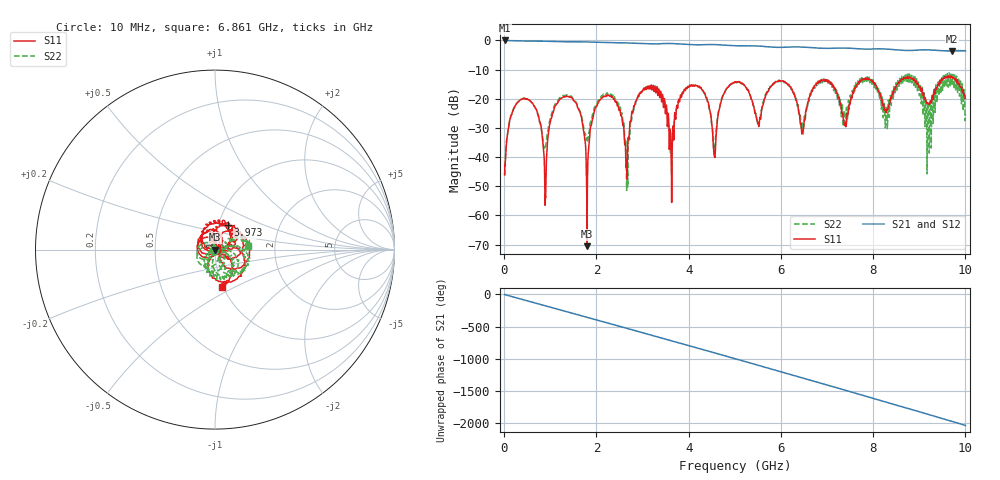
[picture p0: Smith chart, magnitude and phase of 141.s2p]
!Keysight Technologies,E5080B,MY59205177,A.15.75.32
!Date: Friday, February 23, 2024 03:40:08
!Correction: S11(Cdelta 2-Port  )
!S21(Cdelta 2-Port  )
!S12(Cdelta 2-Port  )
!S22(Cdelta 2-Port  )
!S2P File: Measurements: S11, S21, S12, S22:
# Hz S  dB  R 50
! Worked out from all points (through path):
!   10001 points, 10 MHz to 10 GHz, reference 50 ohm
!   highest |S21| = -0.01 dB at 14 MHz (marker M1); lowest = -3.7 dB at 9.701 GHz (marker M2)
!   group delay of S21, straight-line fit = 565 ps
!   lowest |S11| = -70.5 dB at 1.798 GHz (marker M3), VSWR 1.00, Z = 50 + j0.0246 ohm
!   |S11| at or under -10 dB: start of sweep to end of sweep
!   |S22| runs from -51.4 to -11.1 dB; largest |S21 - S12| = 0.0016
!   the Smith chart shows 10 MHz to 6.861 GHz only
!   S11 on the Smith chart (normalised r, x): 10 MHz: 1.01, -0.00; 3.973 GHz: 1.11, +0.31; 6.861 GHz: 0.98, -0.42
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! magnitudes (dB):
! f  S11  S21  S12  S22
! 10 MHz  -46.1  0.0  0.0  -45.9
! 14 MHz  -43.3  0.0  0.0  -45.4
! 374.6 MHz  -20.2  -0.2  -0.2  -20.1
! 888.1 MHz  -55.9  -0.3  -0.3  -37.1
! 1.177 GHz  -20.8  -0.4  -0.4  -20.2
! 1.675 GHz  -26.2  -0.5  -0.5  -25.7
! 1.798 GHz  -70.5  -0.5  -0.5  -33.4
! 2.108 GHz  -19.8  -0.7  -0.7  -19.0
! 2.663 GHz  -47.5  -0.9  -0.9  -43.5
! 2.907 GHz  -19.3  -1.0  -1.0  -18.8
! 3.341 GHz  -17.4  -1.1  -1.1  -17.6
! 3.627 GHz  -46.9  -1.1  -1.1  -41.8
! 3.973 GHz  -16.2  -1.4  -1.4  -16.0
! 4.561 GHz  -39.8  -1.4  -1.4  -38.6
! 5.005 GHz  -14.1  -1.8  -1.8  -14.5
! 6.107 GHz  -14.6  -2.3  -2.3  -14.7
! 6.464 GHz  -31.6  -2.3  -2.3  -27.8
! 6.67 GHz  -17.4  -2.5  -2.5  -17.0
! 6.861 GHz  -13.6  -2.7  -2.7  -14.5
! 8.336 GHz  -22.7  -3.0  -3.0  -20.9
! 9.701 GHz  -12.2  -3.7  -3.7  -13.8
! 10 GHz  -19.9  -3.6  -3.6  -25.3
